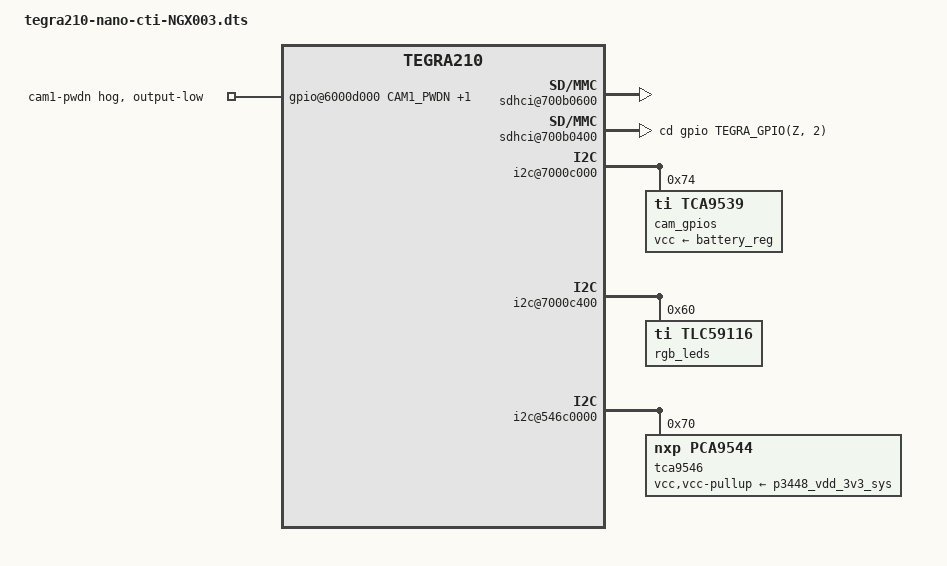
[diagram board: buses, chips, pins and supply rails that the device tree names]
/*
 * arch/arm64/boot/dts/tegra210-p3448-0002-p3449-0000-b00.dts
 *
 * Copyright (c) 2018-2019, NVIDIA CORPORATION.  All rights reserved.
 *
 * This program is free software; you can redistribute it and/or modify
 * it under the terms of the GNU General Public License as published by
 * the Free Software Foundation; version 2 of the License.
 *
 * This program is distributed in the hope that it will be useful, but WITHOUT
 * ANY WARRANTY; without even the implied warranty of MERCHANTABILITY or
 * FITNESS FOR A PARTICULAR PURPOSE.  See the GNU General Public License for
 * more details.
 *
 * You should have received a copy of the GNU General Public License along
 * with this program; if not, write to the Free Software Foundation, Inc.,
 * 51 Franklin Street, Fifth Floor, Boston, MA  02110-1301, USA.
 *
 */

#include "tegra210-nano-cti-base.dtsi"
#include "porg-platforms/tegra210-nano-cti-pinmux-NGX003.dtsi"
#include "porg-platforms/tegra210-nano-cti-gpio-NGX003.dtsi"


#define CAM1_PWDN		TEGRA_GPIO(S, 7)
#define CAM2_PWDN		TEGRA_GPIO(T, 0)
#define CAM_I2C_MUX TEGRA_GPIO(I, 0) // NFC_EN GPIO

/ {
	nvidia,dtsfilename = "tegra210-nano-cti-NGX003.dts";	

	sdhci@700b0600 { /* SDMMC4 for EMMC */
		status = "okay";
	};

	sdhci@700b0000 { 
		status = "disabled";
	};
	
	sdhci@700b0400 {
		status = "okay";
		cd-gpios = <&gpio TEGRA_GPIO(Z, 2) 0>;
	};

	spi@70410000 { /* QSPI */
		status = "disabled";
	};
	
	gpio@6000d000 {
		camera-control-output-low {
			gpio-hog;
			output-low;
			gpios = < CAM1_PWDN 0  CAM2_PWDN 0>;
			label = "cam1-pwdn", "cam2-pwdn";
		};
	};


    /**define tca9539 i2c-0*/
    i2c@7000c000 {
        status = "okay";
        
        cam_gpios:tca9539@74{
            status = "okay";
            compatible="ti,tca9539";
            vcc-supply = <&battery_reg>;
            gpio-controller;
            #gpio-cells=<2>;
            reg=<0x74>;
        };
    };

    /** define tlc59116PWR on i2c-1*/
    i2c@7000c400 {
        status = "okay";
        rgb_leds:tlc59116@60{
            status = "okay";            
            compatible="ti,tlc59116";
            #address-cells = <1>;
            #size-cells = <0>;
            reg=<0x60>;

            red@0 {
                label="red";
                reg = <0x0>;
            };
            green@1 {
                label="green";
                reg = <0x1>;
            };
            blue@2 {
                label="blue";
                reg = <0x2>;
            }; 

        };
    };

    i2c@546c0000 {
        status = "okay";
        #address-cells = <1>;
        #size-cells = <0>;
        tca9546@70 {
            compatible = "nxp,pca9544";
            reg = <0x70>;
            #address-cells = <1>;
            #size-cells = <0>;
            //skip_mux_detect = "yes";
            vcc-supply = <&p3448_vdd_3v3_sys>;
            vcc-pullup-supply = <&p3448_vdd_3v3_sys>;
            status = "okay";
        };
    };

	gpio@6000d000 {
			/* gpio-name for 40-pin header, gpio-name given as COL(10) x ROW(20) */
			gpio-line-names = "",   "",     "",     "",     "",     "",     "",     "",     "",     "",
			"",     "",     "SPI1_MOSI",    "SPI1_MISO",    "SPI1_SCK",     "SPI1_CS0",     "SPI0_MOSI",    "SPI0_MISO",    "SPI0_SCK",     "SPI0_CS0",
			"SPI0_CS1",     "",     "",     "",     "",     "",     "",     "",     "",     "",
			"",     "",     "",     "",     "",     "",     "",     "",     "GPIO13",      "",
			"",     "",     "",     "",     "",     "",     "",     "",     "",     "",
			"UART1_RTS",    "UART1_CTS",    "",     "",     "",     "",     "",     "",     "",     "",
			"",     "",     "",     "",     "",     "",     "",     "",     "",     "",
			"",     "",     "",     "",     "",     "",     "I2S0_FS",    "I2S0_DIN",    "I2S0_DOUT",   "I2S0_SCLK",
			"",     "",     "",     "",     "",     "",     "",     "",     "",     "",
			"",     "",     "",     "",     "",     "",     "",     "",     "",     "",
			"",     "",     "",     "",     "",     "",     "",     "",     "",     "",
			"",     "",     "",     "",     "",     "",     "",     "",     "",     "",
			"",     "",     "",     "",     "",     "",     "",     "",     "",     "",
			"",     "",     "",     "",     "",     "",     "",     "",     "",     "",
			"",     "",     "",     "",     "",     "",     "",     "",     "",     "GPIO01",
			"",     "",     "",     "",     "",     "",     "",     "",     "",     "",
			"",     "",     "",     "",     "",     "",     "",     "",     "GPIO07",   "",
			"",     "",     "",     "",     "",     "",     "",     "",     "",     "",
			"",     "",     "",     "",     "",     "",     "",     "",     "",     "",
			"",     "",     "",     "",     "GPIO12",       "",     "",     "",     "",     "",
			"GPIO11",      "",     "",     "",     "",     "",     "",     "",     "",     "",
			"",     "",     "",     "",     "",     "",     "GPIO09",     "",     "",     "",
			"",     "",     "",     "",     "",     "",     "",     "",     "",     "",
			"",     "",     "SPI1_CS1",     "",     "",     "",     "",     "",     "",     "";
	};
};
